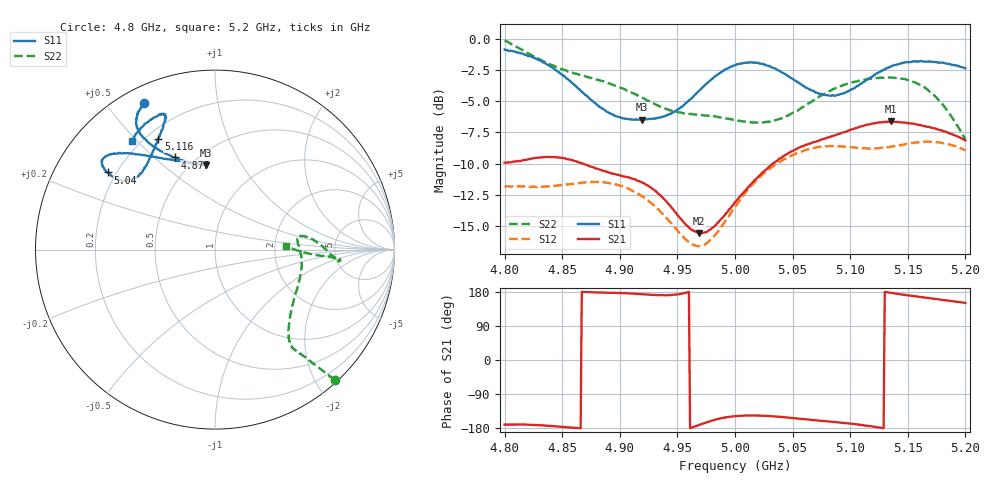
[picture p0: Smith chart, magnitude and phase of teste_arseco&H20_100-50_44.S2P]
! Network Analyzer HP8722D
! Hewlett-Packard
! Data name: Linha & Wilkinson
! Saver's name: Rodrigo Anjos
! Comments: Teste da utilização de aquisição
! continua pelo VNA HP8722D
! Time and date: 6/5/2025 12:56
!  Frequency  S11  S21  S12  S22
# HZ  S  MA R 50
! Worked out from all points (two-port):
!   401 points, 4.8 GHz to 5.2 GHz, reference 50 ohm
!   highest |S21| = -6.61 dB at 5.135 GHz (marker M1); lowest = -15.6 dB at 4.969 GHz (marker M2)
!   |S21| within 3 dB of the highest: 4.823 GHz to 4.853 GHz (30.64 MHz wide, 0.633 % of centre); 5.038 GHz to end of sweep
!   lowest |S11| = -6.5 dB at 4.919 GHz (marker M3), VSWR 2.80, Z = 29.2 + j35.5 ohm
!   |S11| at or under -10 dB: nowhere
!   |S22| runs from -8.1 to -0.1 dB; largest |S21 - S12| = 0.83
!   S11 on the Smith chart (normalised r, x): 4.8 GHz: 0.07, +0.63; 4.877 GHz: 0.39, +0.58; 5.04 GHz: 0.17, +0.31; 5.116 GHz: 0.25, +0.58; 5.2 GHz: 0.17, +0.48
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4.8e9  0.9054 115.8  0.3192 -170.5  0.2564 -85.9  0.9843 -47.4
4.831e9  0.8164 122.4  0.3347 -172.1  0.2555 -77.7  0.8246 -49.4
4.847e9  0.7344 122.5  0.3345 -175.7  0.2591 -72.5  0.7648 -50.5
4.867e9  0.6137 117.9  0.3179 179.8  0.2654 -67.1  0.7145 -51.4
4.877e9  0.56 113.6  0.3057 178.6  0.267 -66.0  0.6928 -51.7
4.901e9  0.4839 101.2  0.2834 176.7  0.2578 -66.6  0.6357 -49.9
4.919e9  0.4738 96.1  0.2663 173.9  0.2345 -68.5  0.5825 -44.8
4.934e9  0.484 99.2  0.2385 171.0  0.2066 -69.2  0.5374 -37.5
4.949e9  0.5167 108.8  0.2001 172.9  0.1732 -65.8  0.5102 -27.6
4.969e9  0.6201 123.5  0.1665 -171.2  0.148 -47.6  0.4961 -15.0
4.981e9  0.6953 130.0  0.1761 -159.2  0.1605 -33.7  0.4881 -8.6
5e9  0.7852 137.3  0.2216 -148.3  0.2126 -21.3  0.4729 -0.2
5.018e9  0.8014 141.7  0.2738 -146.5  0.2688 -18.1  0.4622 5.9
5.04e9  0.7362 144.3  0.3341 -150.2  0.3233 -18.2  0.4794 9.2
5.067e9  0.6197 141.9  0.3842 -158.2  0.3649 -20.4  0.5622 4.7
5.088e9  0.5929 133.0  0.4129 -164.0  0.3706 -23.6  0.6356 -1.6
5.116e9  0.6919 117.2  0.4537 -174.2  0.3639 -26.7  0.6895 -5.2
5.134e9  0.7675 111.1  0.464 178.0  0.3686 -28.5  0.6993 -4.8
5.135e9  0.7741 111.2  0.467 177.4  0.3698 -28.5  0.7003 -4.7
5.164e9  0.81 113.3  0.4472 165.1  0.3869 -35.9  0.6411 -3.5
5.181e9  0.8004 119.5  0.4265 158.5  0.3816 -41.1  0.5406 -2.7
5.2e9  0.7617 127.4  0.3917 150.7  0.358 -46.1  0.3956 2.6
